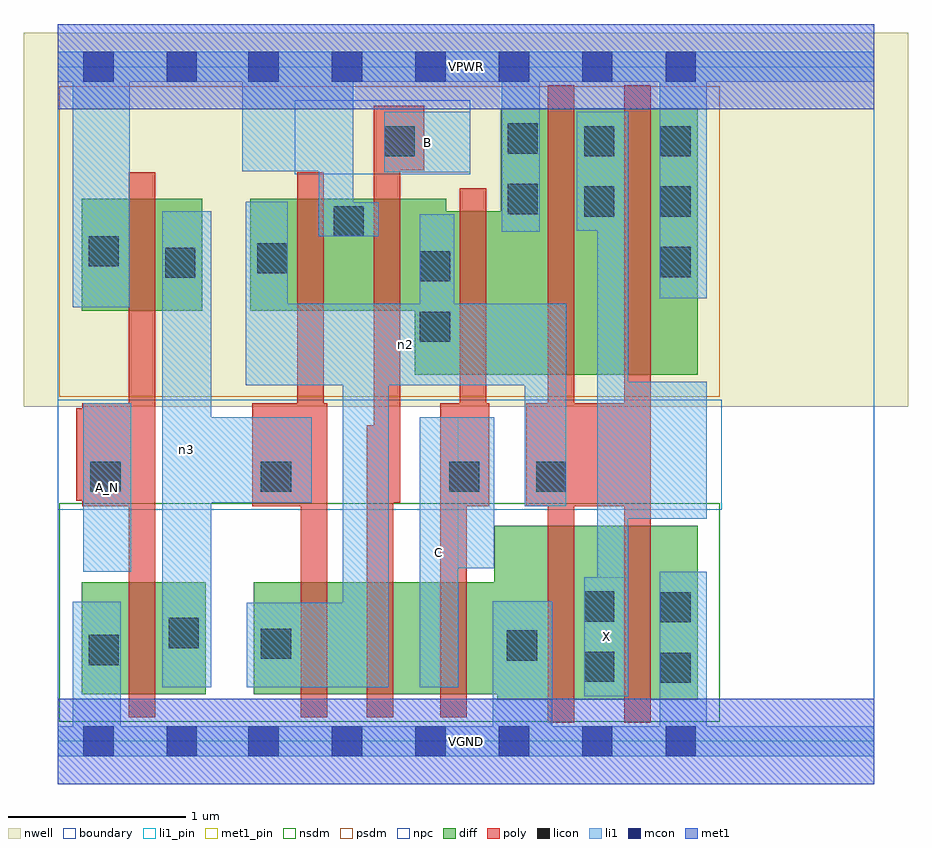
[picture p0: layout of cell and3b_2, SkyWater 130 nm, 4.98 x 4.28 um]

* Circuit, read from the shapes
.subckt and3b_2 A_N B C VGND VPWR X n2 n3
XM1 n3 A_N VGND VSUBS sky130_fd_pr__nfet_01v8 w=0.63 l=0.15
XM2 n1 n3 n2 VSUBS sky130_fd_pr__nfet_01v8 w=0.63 l=0.15
XM3 n4 B n1 VSUBS sky130_fd_pr__nfet_01v8 w=0.63 l=0.15
XM4 VGND C n4 VSUBS sky130_fd_pr__nfet_01v8 w=0.63 l=0.15
XM5 X n2 VGND VSUBS sky130_fd_pr__nfet_01v8 w=0.98 l=0.15 m=2
XM6 n3 A_N VPWR n5 sky130_fd_pr__pfet_01v8 w=0.63 l=0.15
XM7 VPWR n3 n2 n5 sky130_fd_pr__pfet_01v8 w=0.63 l=0.15
XM8 n2 B VPWR n5 sky130_fd_pr__pfet_01v8 w=0.63 l=0.15
XM9 VPWR C n2 n5 sky130_fd_pr__pfet_01v8 w=0.92 l=0.15
XM10 X n2 VPWR n5 sky130_fd_pr__pfet_01v8 w=1.5 l=0.15 m=2
.ends

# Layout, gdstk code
import gdstk
lib = gdstk.Library(unit=1e-6, precision=1e-09)
def R(c, l, rs):  # rectangles x0, y0, x1, y1
    for r in rs: c.add(gdstk.rectangle(r[:2], r[2:], *l))
def A(c, l, x, y, w, h, nx, ny, dx, dy):  # array of equal rectangles
    R(c, l, [(x+i*dx, y+j*dy, x+i*dx+w, y+j*dy+h) for i in range(nx) for j in range(ny)])
nwell = (64, 20)
diff = (65, 20)
poly = (66, 20)
licon = (66, 44)
li1_pin = (67, 16)
li1 = (67, 20)
mcon = (67, 44)
met1_pin = (68, 16)
met1 = (68, 20)
nsdm = (93, 44)
psdm = (94, 20)
npc = (95, 20)
boundary = (235, 4)

and3b_2 = lib.new_cell('and3b_2')
R(and3b_2, nwell, [(-0.19,1.885,4.79,3.99), (0,1.885,4.6,3.99)])
R(and3b_2, diff, [(2.475,0.235,3.605,1.215), (0.135,0.265,0.835,0.895), (1.105,0.265,3.605,0.895), (2.46,0.265,3.605,1.215), (2.01,2.065,3.605,2.985), (2.495,2.065,3.605,3.565), (0.135,2.425,0.815,3.055), (1.085,2.425,2.19,3.055)])
R(and3b_2, poly, [(2.76,0.105,2.91,3.695), (3.19,0.105,3.34,3.695), (0.4,0.135,0.55,3.205), (1.37,0.135,1.52,1.905), (1.74,0.135,1.89,1.78), (2.155,0.135,2.305,1.905), (0.14,1.325,0.55,1.905), (1.095,1.325,1.52,1.905), (1.35,1.325,1.5,3.205), (2.155,1.325,2.43,1.905), (2.265,1.325,2.415,3.115), (2.64,1.325,3.34,1.905), (1.78,1.345,1.93,3.58), (0.105,1.355,0.55,1.875), (1.78,3.215,2.065,3.58)])
A(and3b_2, licon, 3.395, 2.615, 0.17, 0.17, 1, 3, 0, 0.34)
R(and3b_2, licon, [(3.395,0.33,3.565,0.5), (2.965,0.335,3.135,0.505), (0.175,0.43,0.345,0.6), (2.53,0.455,2.7,0.625), (1.145,0.465,1.315,0.635), (0.625,0.525,0.795,0.695), (3.395,0.67,3.565,0.84), (2.965,0.675,3.135,0.845), (0.185,1.405,0.355,1.575), (1.145,1.405,1.315,1.575), (2.205,1.405,2.375,1.575), (2.695,1.405,2.865,1.575), (2.04,2.25,2.21,2.42), (2.04,2.59,2.21,2.76), (0.605,2.61,0.775,2.78), (1.125,2.635,1.295,2.805), (0.175,2.675,0.345,2.845), (1.555,2.845,1.725,3.015), (2.965,2.955,3.135,3.125), (2.535,2.97,2.705,3.14), (1.84,3.295,2.01,3.465), (2.965,3.295,3.135,3.465), (2.535,3.31,2.705,3.48)])
R(and3b_2, li1_pin, [(2.965,0.255,3.215,0.925), (2.04,0.305,2.255,1.825), (0.145,0.955,0.415,1.905), (1.84,3.205,2.325,3.545)])
R(and3b_2, li1, [(0,-0.085,4.6,0.085), (0.085,-0.085,0.355,0.785), (2.45,-0.085,2.785,0.79), (3.39,-0.085,3.655,0.955), (2.965,0.255,3.215,0.925), (3.04,0.255,3.215,3.545), (0.59,0.305,0.865,2.985), (1.065,0.305,1.865,0.78), (1.605,0.305,1.865,2.465), (2.04,0.305,2.255,1.825), (0.145,0.955,0.415,1.905), (2.04,0.975,2.46,1.825), (3.04,1.255,3.655,2.025), (2.63,1.325,2.865,2.465), (0.59,1.345,1.43,1.825), (1.06,2.005,2.865,2.465), (1.06,2.005,1.295,3.04), (2.04,2.005,2.235,2.97), (0.085,2.445,0.405,3.885), (3.39,2.495,3.655,3.885), (1.47,2.845,1.665,3.885), (1.47,2.845,1.81,3.035), (2.5,2.87,2.715,3.885), (2.925,2.875,3.215,3.545), (1.84,3.205,2.325,3.545), (1.04,3.21,1.665,3.885), (0,3.715,4.6,3.885)])
A(and3b_2, mcon, 1.075, -0.085, 0.17, 0.17, 6, 2, 0.47, 3.8)
R(and3b_2, mcon, [(0.145,-0.085,0.315,0.085), (0.615,-0.085,0.785,0.085), (0.145,3.715,0.315,3.885), (0.615,3.715,0.785,3.885)])
R(and3b_2, met1_pin, [(0,-0.24,4.6,0.24), (0,3.56,4.6,4.04)])
R(and3b_2, met1, [(0,-0.24,4.6,0.24), (0,3.56,4.6,4.04)])
R(and3b_2, nsdm, [(0.01,0.11,3.73,1.34)])
R(and3b_2, psdm, [(0.01,1.94,3.73,3.69)])
R(and3b_2, npc, [(0,1.305,3.74,1.925), (1.335,3.195,2.325,3.61)])
R(and3b_2, boundary, [(0,0,4.6,3.8)])
and3b_2.add(gdstk.Label('A_N', (0.28,1.43), layer=67, texttype=5))
and3b_2.add(gdstk.Label('B', (2.082,3.375), layer=67, texttype=5))
and3b_2.add(gdstk.Label('C', (2.147,1.065), layer=67, texttype=5))
and3b_2.add(gdstk.Label('X', (3.09,0.59), layer=67, texttype=5))
and3b_2.add(gdstk.Label('n3', (0.727,1.645), layer=67, texttype=5))
and3b_2.add(gdstk.Label('n2', (1.962,2.235), layer=67, texttype=5))
and3b_2.add(gdstk.Label('VPWR', (2.3,3.8), layer=68, texttype=5))
and3b_2.add(gdstk.Label('VGND', (2.3,0), layer=68, texttype=5))
and3b_2.add(gdstk.Label('A_N', (0.28,1.43), layer=67, texttype=16))
and3b_2.add(gdstk.Label('B', (2.082,3.375), layer=67, texttype=16))
and3b_2.add(gdstk.Label('C', (2.147,1.065), layer=67, texttype=16))
and3b_2.add(gdstk.Label('X', (3.09,0.59), layer=67, texttype=16))
and3b_2.add(gdstk.Label('VPWR', (2.3,3.8), layer=68, texttype=16))
and3b_2.add(gdstk.Label('VGND', (2.3,0), layer=68, texttype=16))

lib.write_gds('and3b_2.gds')
